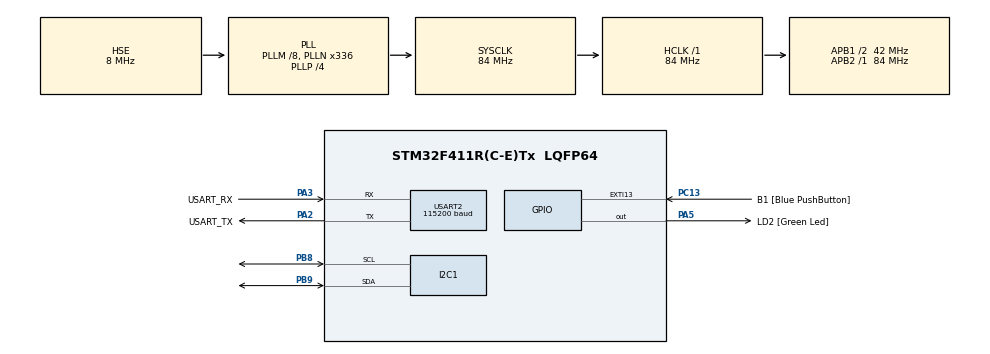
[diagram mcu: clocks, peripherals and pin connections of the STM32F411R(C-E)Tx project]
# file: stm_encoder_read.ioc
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Dma.I2C1_RX.0.Direction=DMA_PERIPH_TO_MEMORY
Dma.I2C1_RX.0.FIFOMode=DMA_FIFOMODE_DISABLE
Dma.I2C1_RX.0.Instance=DMA1_Stream0
Dma.I2C1_RX.0.MemDataAlignment=DMA_MDATAALIGN_BYTE
Dma.I2C1_RX.0.MemInc=DMA_MINC_ENABLE
Dma.I2C1_RX.0.Mode=DMA_NORMAL
Dma.I2C1_RX.0.PeriphDataAlignment=DMA_PDATAALIGN_BYTE
Dma.I2C1_RX.0.PeriphInc=DMA_PINC_DISABLE
Dma.I2C1_RX.0.Priority=DMA_PRIORITY_HIGH
Dma.Request0=I2C1_RX
I2C1.I2C_Mode=I2C_Fast
Mcu.Family=STM32F4
Mcu.Name=STM32F411R(C-E)Tx
Mcu.Package=LQFP64
NVIC.DMA1_Stream0_IRQn=true\:0\:0\:false\:false\:true\:false\:true\:true
NVIC.I2C1_ER_IRQn=true\:0\:0\:false\:false\:true\:true\:true\:true
NVIC.I2C1_EV_IRQn=true\:0\:0\:false\:false\:true\:true\:true\:true
NVIC.PriorityGroup=NVIC_PRIORITYGROUP_0
NVIC.TIM3_IRQn=true\:0\:0\:false\:false\:true\:true\:true\:true
PA13.GPIO_Label=TMS
PA13.Mode=Serial_Wire
PA13.Signal=SYS_JTMS-SWDIO
PA14.GPIO_Label=TCK
PA14.Mode=Serial_Wire
PA14.Signal=SYS_JTCK-SWCLK
PA2.GPIO_Label=USART_TX
PA2.Mode=Asynchronous
PA2.Signal=USART2_TX
PA3.GPIO_Label=USART_RX
PA3.Mode=Asynchronous
PA3.Signal=USART2_RX
PA5.GPIO_Label=LD2 [Green Led]
PA5.Signal=GPIO_Output
PB3.GPIO_Label=SWO
PB3.Signal=SYS_JTDO-SWO
PB8.Mode=I2C
PB8.Signal=I2C1_SCL
PB9.Mode=I2C
PB9.Signal=I2C1_SDA
PC13-ANTI_TAMP.GPIO_Label=B1 [Blue PushButton]
PC13-ANTI_TAMP.GPIO_ModeDefaultEXTI=GPIO_MODE_IT_FALLING
PC13-ANTI_TAMP.Signal=GPXTI13
PC14-OSC32_IN.Mode=LSE-External-Oscillator
PC14-OSC32_IN.Signal=RCC_OSC32_IN
PC15-OSC32_OUT.Mode=LSE-External-Oscillator
PC15-OSC32_OUT.Signal=RCC_OSC32_OUT
PH0\ -\ OSC_IN.Mode=HSE-External-Clock-Source
PH0\ -\ OSC_IN.Signal=RCC_OSC_IN
PH1\ -\ OSC_OUT.Mode=HSE-External-Clock-Source
PH1\ -\ OSC_OUT.Signal=RCC_OSC_OUT
ProjectManager.HeapSize=0x200
ProjectManager.StackSize=0x400
ProjectManager.TargetToolchain=CMake
RCC.48MHZClocksFreq_Value=84000000
RCC.AHBFreq_Value=84000000
RCC.APB1CLKDivider=RCC_HCLK_DIV2
RCC.APB1Freq_Value=42000000
RCC.APB1TimFreq_Value=84000000
RCC.APB2Freq_Value=84000000
RCC.APB2TimFreq_Value=84000000
RCC.CortexFreq_Value=84000000
RCC.FLatency-AdvancedSettings=FLASH_LATENCY_2
RCC.HCLKFreq_Value=84000000
RCC.HSE_VALUE=8000000
RCC.HSI_VALUE=16000000
RCC.PLLM=8
RCC.PLLN=336
RCC.PLLP=RCC_PLLP_DIV4
RCC.PLLSourceVirtual=RCC_PLLSOURCE_HSE
RCC.SYSCLKFreq_VALUE=84000000
RCC.SYSCLKSource=RCC_SYSCLKSOURCE_PLLCLK
RCC.VCOOutputFreq_Value=336000000
TIM3.Period=999
TIM3.Prescaler=41
USART2.BaudRate=115200
USART2.VirtualMode=VM_ASYNC
VP_TIM3_VS_ClockSourceINT.Mode=Internal
board=NUCLEO-F411RE

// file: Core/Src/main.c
/* USER CODE BEGIN Header */
/**
  ******************************************************************************
  * @file           : main.c
  * @brief          : Main program body
  ******************************************************************************
  * @attention
  *
  * Copyright (c) 2026 STMicroelectronics.
  * All rights reserved.
  *
  * This software is licensed under terms that can be found in the LICENSE file
  * in the root directory of this software component.
  * If no LICENSE file comes with this software, it is provided AS-IS.
  *
  ******************************************************************************
  */
/* USER CODE END Header */
#include "main.h"

/* USER CODE BEGIN Includes */
#include "as5048b.h"
#include "stm32f4xx_hal_def.h"
#include <stdio.h>
#include <stdint.h>
#include <string.h>
#include <math.h>

/* USER CODE END Includes */

I2C_HandleTypeDef hi2c1;
DMA_HandleTypeDef hdma_i2c1_rx;

TIM_HandleTypeDef htim3;

UART_HandleTypeDef huart2;

void SystemClock_Config(void);
static void MX_GPIO_Init(void);
static void MX_DMA_Init(void);
static void MX_I2C1_Init(void);
static void MX_USART2_UART_Init(void);
static void MX_TIM3_Init(void);

/* USER CODE BEGIN 0 */

void UART_Print(const char *message) {
  HAL_UART_Transmit(&huart2 , (uint8_t *)message,
    (uint16_t)strlen(message), 1000);
}
#define ENCODER_I2C_ADDR (0b1000000 << 1) // 1 bit Lshift for HAL API
//
// I2C ISRs for non-blocking DMA read
//
static uint8_t rx_buf[2];
static uint32_t rx_buf_seq_idx = 0;

static volatile uint8_t  i2c_busy = 0;
static volatile uint32_t overruns = 0, i2c_errors = 0;

// Block accumulation state. Shared between the TIM3 and I2C1 ISRs
// Skipped/failed reads still "accumulate" in timer ticks, so block is always dispatched at
// 200Hz, even if I2C delays/fails
static struct accumulation_block cur;
static uint8_t  tick_in_block = 0;  // 0..AVG_N-1, position of the next tick in the block
static uint32_t block_id = 0;       // incremented every time a block is closed
static uint32_t inflight_block_id;  // block_id at the time the in-flight read was started

static void CloseBlock(void) {
  if (cur.n > 0) {                  // all reads failed -> no output for this period
    if (!RingPush(&cur)) ++overruns;
  }
  cur.n = 0;
  cur.sum = 0;
  cur.start_idx = rx_buf_seq_idx;
  ++block_id;
}

void HAL_TIM_PeriodElapsedCallback(TIM_HandleTypeDef *htim) {
  if (htim->Instance != TIM3) return;
  rx_buf_seq_idx += 1; // Increment this regardless of success/fail on the read to detect skipped reads

  // Every AVG_N ticks, the previous block has had all its reads issued (and, at
  // ~120 us per read vs a 500 us period, completed), so close it now.
  if (tick_in_block == 0) CloseBlock();
  if (++tick_in_block == AVG_N) tick_in_block = 0;

  if (i2c_busy) { overruns++; return; } // previous read not finished
  i2c_busy = 1;
  inflight_block_id = block_id;
  if (AS5048_ReadAngleDMA(&hi2c1, ENCODER_I2C_ADDR, rx_buf) != HAL_OK) {
    i2c_busy = 0;
    overruns++;
  }
}

void HAL_I2C_MemRxCpltCallback(I2C_HandleTypeDef *hi2c) {
  static uint16_t enc_ref;
  static uint8_t enc_ref_set = 0;
  if (hi2c->Instance != I2C1) return;
  i2c_busy = 0;

  // A read that was still in flight when its block closed belongs to a block
  // that has already been pushed; drop it rather than mis-attribute it.
  if (inflight_block_id != block_id) { overruns++; return; }

  uint16_t raw = AS5048_ConvertAngleBuffer(rx_buf);

  // Fixed reference, latched once from the first sample after boot, used
  // for wrap detection/unwrapping
  if(!enc_ref_set) {
    enc_ref = raw;
    enc_ref_set = 1;
  }
  cur.ref = enc_ref;

  // Manage encoder wrap (modular difference to the fixed ref, signed result)
  int32_t d = (int32_t)raw - cur.ref;
  if(d > ENC_RANGE / 2) d -= ENC_RANGE;
  if(d < -ENC_RANGE / 2) d += ENC_RANGE;
  cur.sum += d;
  ++cur.n;
}

void HAL_I2C_ErrorCallback(I2C_HandleTypeDef *hi2c) {
  if (hi2c->Instance != I2C1) return;
  i2c_errors++;
  i2c_busy = 0;   // consider bus recovery here if errors persist
}

// Air density calibrated in the VDAS
#define RHO 1.2056f
#ifndef RHO // Fallback
#define RHO 1.2056f      // kg/m^3, VDAS reference density
#endif

// Constants
#define SQRT_A 0.059487f  // Pa/count

#define QUAD_A1  0.0447421f
#define QUAD_A2  2.12011e-5f

// v = k sqrt(theta), theta = c0 - filtered count (counts, positive with airspeed)
float sqrt_model(float theta) {
  const static float c = 2.0f * SQRT_A / RHO;

  if(theta <= 0.0f) return 0.0f;
  return sqrtf(c * theta);
}

// v = k sqrt(theta) sqrt(1 + b theta), theta = c0 - filtered count
float quadratic_model(float theta) {
  // Roll k inside the sqrt for fewer calculations
  const static float c1 = 2.0f * QUAD_A1 / RHO;
  const static float c2 = 2.0f * QUAD_A2 / RHO;

  if(theta <= 0.0f) return 0.0f;
  return sqrtf(theta * (c1 + c2 * theta));
}

float cubic_model(float theta) {
  const static float scale = 282.1641f;
  const static float a = 1.37421e-8 / scale;
  const static float b = -0.00043698 / scale;
  const static float c = 4.63856 / scale;

  if(theta <= 0.0f) return 0.0f;
  return a*powf(theta, 3.0) + b*powf(theta, 2.0) + c*theta;
}

//
// Tare (c0) procedure
//
// c0 = mean count over a still-air period, taken at boot and on each B1 press.
// Never re-zeroed automatically. Output is silent while taring.
//
#define TARE_BLOCKS        400   // tare period in blocks: 400 x AVG_N samples ~= 2 s
#define TARE_BLINK_BLOCKS  20    // LD2 toggle period while taring (~100 ms)
// Stillness check: std dev of the 10-sample block means over the tare period.
#define TARE_MAX_STD       2.0f  // counts

struct tare_state {
  int32_t  sum;      // sum of block sums (counts rel. to fixed ref); max 400*10*8192 ~= 33M
  uint32_t n;        // samples accumulated
  uint16_t blocks;   // blocks accumulated
  float    mean;     // Welford running mean of block means (stillness check only)
  float    m2;       // Welford sum of squared deviations
};

static void TareReset(struct tare_state *t) {
  memset(t, 0, sizeof(*t));
}

// Accumulate one block. Returns 1 when the tare period is complete and still
// (c0 written to *c0_off), 0 otherwise. A failed period resets and retries.
static int TareAccumulate(struct tare_state *t, const struct accumulation_block *b, float *c0_off) {
  t->sum += b->sum;
  t->n   += b->n;
  ++t->blocks;

  float m = (float)b->sum / b->n;
  float delta = m - t->mean;
  t->mean += delta / t->blocks;
  t->m2   += delta * (m - t->mean);

  if (t->blocks % TARE_BLINK_BLOCKS == 0) HAL_GPIO_TogglePin(LD2_GPIO_Port, LD2_Pin);
  if (t->blocks < TARE_BLOCKS) return 0;

  float var = t->m2 / (t->blocks - 1);
  int still = var <= TARE_MAX_STD * TARE_MAX_STD;
  if (still) {
    // double for the division: sum can exceed float's 24-bit exact range
    *c0_off = (float)((double)t->sum / (double)t->n);
  }
  TareReset(t);
  return still;
}

/* USER CODE END 0 */

int main(void)
{

  /* MCU Configuration--------------------------------------------------------*/

  /* Reset of all peripherals, Initializes the Flash interface and the Systick. */
  HAL_Init();

  /* USER CODE BEGIN Init */
  HAL_DBGMCU_EnableDBGSleepMode(); // Prevents board from locking under debug mode due to __WFI
  /* USER CODE END Init */

  /* Configure the system clock */
  SystemClock_Config();

  /* Initialize all configured peripherals */
  MX_GPIO_Init();
  MX_DMA_Init();
  MX_I2C1_Init();
  MX_USART2_UART_Init();
  MX_TIM3_Init();
  /* USER CODE BEGIN 2 */

  // Check encoder is connected and active. No UART messages: the downstream
  // device only accepts single float lines. LD2 stays off while stuck here.
  HAL_StatusTypeDef status;
  status = HAL_I2C_IsDeviceReady (&hi2c1, ENCODER_I2C_ADDR, 3, 100);
  if (status != HAL_OK) {
    while (1);
  }
  do {
    status = AS5048_CheckSetup(&hi2c1, ENCODER_I2C_ADDR);
  } while(status != HAL_OK);

  char msg[100];

  /* USER CODE END 2 */

  /* Infinite loop */
  /* USER CODE BEGIN WHILE */

  struct accumulation_block data;
  struct moving_window window = {0};

  // Tare runs first (boot), and again on each B1 press. The tare period (400
  // blocks) is far longer than the moving window (10 blocks), so the window is
  // always full by the time output starts - no separate warm-up state needed.
  enum { STATE_TARING, STATE_RUNNING } state = STATE_TARING;
  struct tare_state tare;
  TareReset(&tare);
  float c0_off = 0.0f;              // c0 as an offset from the fixed encoder ref
  uint8_t b1_prev = 0;

  HAL_TIM_Base_Start_IT(&htim3); // Start sensor read timer

  while (1)
  {
    /* USER CODE END WHILE */

    /* USER CODE BEGIN 3 */
    while(RingPop(&data)) {
      MovingWindowAccumulate(&window, &data);

      // B1 (active low) polled once per block (5 ms). Press -> restart tare
      uint8_t b1 = HAL_GPIO_ReadPin(B1_GPIO_Port, B1_Pin) == GPIO_PIN_RESET;
      if (b1 && !b1_prev) {
        TareReset(&tare);
        HAL_GPIO_WritePin(LD2_GPIO_Port, LD2_Pin, GPIO_PIN_RESET);
        state = STATE_TARING;
      }
      b1_prev = b1;

      if (state == STATE_TARING) {
        if (TareAccumulate(&tare, &data, &c0_off)) {
          HAL_GPIO_WritePin(LD2_GPIO_Port, LD2_Pin, GPIO_PIN_SET);
          state = STATE_RUNNING;
        }
        continue;                   // silent while taring
      }

      // Filtered count as an offset from the fixed ref (exact integer sums,
      // single float conversion). n_total > 0: CloseBlock never pushes an
      // empty block. theta = c0 - count, positive with airspeed.
      float filtered_off = (float)window.sum_total / window.n_total;
      float v = quadratic_model(c0_off - filtered_off);
      // float v = sqrt_model(c0_off - filtered_off);
      // float v = cubic_model(c0_off - filtered_off);

      // This MUST be in main loop for heap allocation - newlib not reentrant
      snprintf(msg, sizeof(msg), "%.2f\r\n", (double)v);
      UART_Print(msg);
    }

    __WFI(); // Wait for any interrupt (after ISR completion)
  }
  /* USER CODE END 3 */
}

void SystemClock_Config(void)
{
  RCC_OscInitTypeDef RCC_OscInitStruct = {0};
  RCC_ClkInitTypeDef RCC_ClkInitStruct = {0};

  /** Configure the main internal regulator output voltage
  */
  __HAL_RCC_PWR_CLK_ENABLE();
  __HAL_PWR_VOLTAGESCALING_CONFIG(PWR_REGULATOR_VOLTAGE_SCALE1);

  /** Initializes the RCC Oscillators according to the specified parameters
  * in the RCC_OscInitTypeDef structure.
  */
  RCC_OscInitStruct.OscillatorType = RCC_OSCILLATORTYPE_HSE;
  RCC_OscInitStruct.HSEState = RCC_HSE_BYPASS;
  RCC_OscInitStruct.PLL.PLLState = RCC_PLL_ON;
  RCC_OscInitStruct.PLL.PLLSource = RCC_PLLSOURCE_HSE;
  RCC_OscInitStruct.PLL.PLLM = 8;
  RCC_OscInitStruct.PLL.PLLN = 336;
  RCC_OscInitStruct.PLL.PLLP = RCC_PLLP_DIV4;
  RCC_OscInitStruct.PLL.PLLQ = 4;
  if (HAL_RCC_OscConfig(&RCC_OscInitStruct) != HAL_OK)
  {
    Error_Handler();
  }

  /** Initializes the CPU, AHB and APB buses clocks
  */
  RCC_ClkInitStruct.ClockType = RCC_CLOCKTYPE_HCLK|RCC_CLOCKTYPE_SYSCLK
                              |RCC_CLOCKTYPE_PCLK1|RCC_CLOCKTYPE_PCLK2;
  RCC_ClkInitStruct.SYSCLKSource = RCC_SYSCLKSOURCE_PLLCLK;
  RCC_ClkInitStruct.AHBCLKDivider = RCC_SYSCLK_DIV1;
  RCC_ClkInitStruct.APB1CLKDivider = RCC_HCLK_DIV2;
  RCC_ClkInitStruct.APB2CLKDivider = RCC_HCLK_DIV1;

  if (HAL_RCC_ClockConfig(&RCC_ClkInitStruct, FLASH_LATENCY_2) != HAL_OK)
  {
    Error_Handler();
  }
}

static void MX_I2C1_Init(void)
{

  hi2c1.Instance = I2C1;
  hi2c1.Init.ClockSpeed = 400000;
  hi2c1.Init.DutyCycle = I2C_DUTYCYCLE_2;
  hi2c1.Init.OwnAddress1 = 0;
  hi2c1.Init.AddressingMode = I2C_ADDRESSINGMODE_7BIT;
  hi2c1.Init.DualAddressMode = I2C_DUALADDRESS_DISABLE;
  hi2c1.Init.OwnAddress2 = 0;
  hi2c1.Init.GeneralCallMode = I2C_GENERALCALL_DISABLE;
  hi2c1.Init.NoStretchMode = I2C_NOSTRETCH_DISABLE;
  if (HAL_I2C_Init(&hi2c1) != HAL_OK)
  {
    Error_Handler();
  }

}

static void MX_TIM3_Init(void)
{

  TIM_ClockConfigTypeDef sClockSourceConfig = {0};
  TIM_MasterConfigTypeDef sMasterConfig = {0};

  htim3.Instance = TIM3;
  htim3.Init.Prescaler = 41;
  htim3.Init.CounterMode = TIM_COUNTERMODE_UP;
  htim3.Init.Period = 999;
  htim3.Init.ClockDivision = TIM_CLOCKDIVISION_DIV1;
  htim3.Init.AutoReloadPreload = TIM_AUTORELOAD_PRELOAD_DISABLE;
  if (HAL_TIM_Base_Init(&htim3) != HAL_OK)
  {
    Error_Handler();
  }
  sClockSourceConfig.ClockSource = TIM_CLOCKSOURCE_INTERNAL;
  if (HAL_TIM_ConfigClockSource(&htim3, &sClockSourceConfig) != HAL_OK)
  {
    Error_Handler();
  }
  sMasterConfig.MasterOutputTrigger = TIM_TRGO_RESET;
  sMasterConfig.MasterSlaveMode = TIM_MASTERSLAVEMODE_DISABLE;
  if (HAL_TIMEx_MasterConfigSynchronization(&htim3, &sMasterConfig) != HAL_OK)
  {
    Error_Handler();
  }

}

static void MX_USART2_UART_Init(void)
{

  huart2.Instance = USART2;
  huart2.Init.BaudRate = 115200;
  huart2.Init.WordLength = UART_WORDLENGTH_8B;
  huart2.Init.StopBits = UART_STOPBITS_1;
  huart2.Init.Parity = UART_PARITY_NONE;
  huart2.Init.Mode = UART_MODE_TX_RX;
  huart2.Init.HwFlowCtl = UART_HWCONTROL_NONE;
  huart2.Init.OverSampling = UART_OVERSAMPLING_16;
  if (HAL_UART_Init(&huart2) != HAL_OK)
  {
    Error_Handler();
  }

}

static void MX_DMA_Init(void)
{

  /* DMA controller clock enable */
  __HAL_RCC_DMA1_CLK_ENABLE();

  /* DMA interrupt init */
  /* DMA1_Stream0_IRQn interrupt configuration */
  HAL_NVIC_SetPriority(DMA1_Stream0_IRQn, 0, 0);
  HAL_NVIC_EnableIRQ(DMA1_Stream0_IRQn);

}

static void MX_GPIO_Init(void)
{
  GPIO_InitTypeDef GPIO_InitStruct = {0};

  /* GPIO Ports Clock Enable */
  __HAL_RCC_GPIOC_CLK_ENABLE();
  __HAL_RCC_GPIOH_CLK_ENABLE();
  __HAL_RCC_GPIOA_CLK_ENABLE();
  __HAL_RCC_GPIOB_CLK_ENABLE();

  /*Configure GPIO pin Output Level */
  HAL_GPIO_WritePin(LD2_GPIO_Port, LD2_Pin, GPIO_PIN_RESET);

  /*Configure GPIO pin : B1_Pin */
  GPIO_InitStruct.Pin = B1_Pin;
  GPIO_InitStruct.Mode = GPIO_MODE_IT_FALLING;
  GPIO_InitStruct.Pull = GPIO_NOPULL;
  HAL_GPIO_Init(B1_GPIO_Port, &GPIO_InitStruct);

  /*Configure GPIO pin : LD2_Pin */
  GPIO_InitStruct.Pin = LD2_Pin;
  GPIO_InitStruct.Mode = GPIO_MODE_OUTPUT_PP;
  GPIO_InitStruct.Pull = GPIO_NOPULL;
  GPIO_InitStruct.Speed = GPIO_SPEED_FREQ_LOW;
  HAL_GPIO_Init(LD2_GPIO_Port, &GPIO_InitStruct);

}

void Error_Handler(void)
{
  __disable_irq();
  while (1)
  {
  }
}
